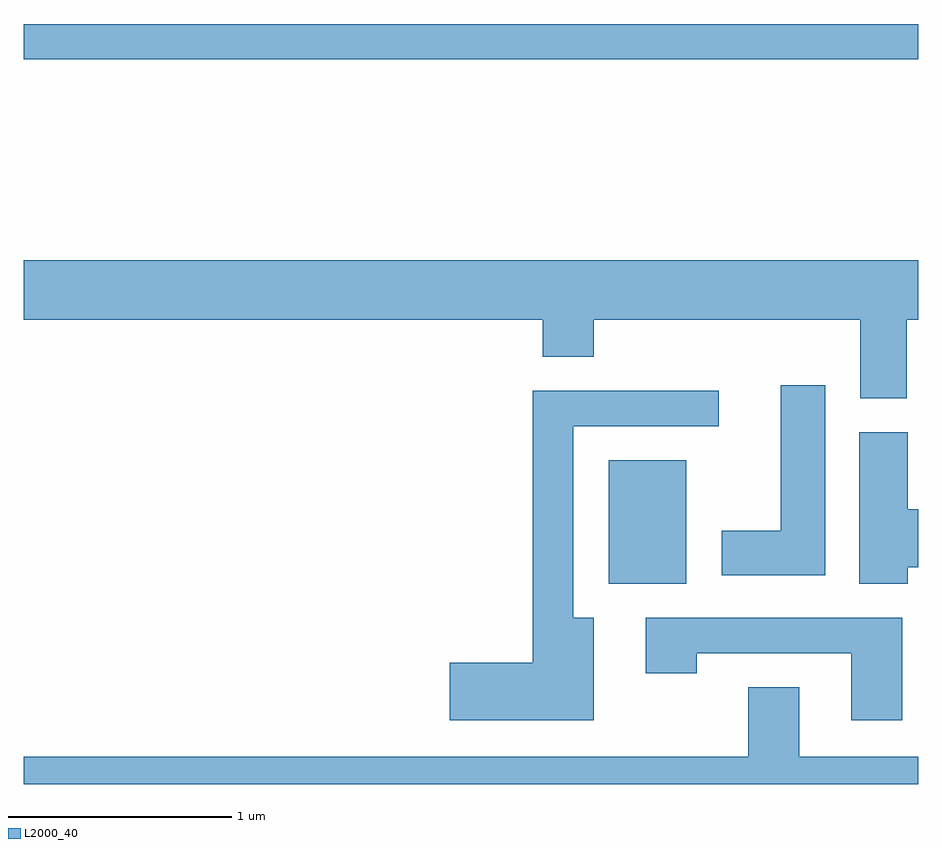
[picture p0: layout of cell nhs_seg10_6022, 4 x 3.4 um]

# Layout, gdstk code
import gdstk
lib = gdstk.Library(unit=1e-6, precision=1e-09)
def R(c, l, rs):  # rectangles x0, y0, x1, y1
    for r in rs: c.add(gdstk.rectangle(r[:2], r[2:], *l))
def P(c, l, *ps):  # polygons
    for p in ps: c.add(gdstk.Polygon(p, *l))
L2000_40 = (2000, 40)

nhs_seg10_6022 = lib.new_cell('nhs_seg10_6022')
R(nhs_seg10_6022, L2000_40, [(366.226,2099.416,366.574,2099.969), (363.611,2101.761,367.611,2101.919)])
P(nhs_seg10_6022, L2000_40, [(367.559,2100.596),(367.611,2100.596),(367.611,2100.864),(363.611,2100.864),(363.611,2100.596),(365.931,2100.596),(365.931,2100.431),(366.159,2100.431),(366.159,2100.596),(367.351,2100.596),(367.351,2100.246),(367.559,2100.246)],
  [(367.194,2100.304),(366.996,2100.304),(366.996,2099.654),(366.731,2099.654),(366.731,2099.456),(367.194,2099.456)],
  [(366.159,2099.264),(366.069,2099.264),(366.069,2100.121),(366.718,2100.121),(366.718,2100.279),(365.886,2100.279),(365.886,2099.064),(365.516,2099.064),(365.516,2098.806),(366.159,2098.806)],
  [(367.564,2099.491),(367.611,2099.491),(367.611,2099.749),(367.564,2099.749),(367.564,2100.094),(367.346,2100.094),(367.346,2099.416),(367.564,2099.416)],
  [(367.539,2099.264),(366.391,2099.264),(366.391,2099.016),(366.619,2099.016),(366.619,2099.106),(367.311,2099.106),(367.311,2098.806),(367.539,2098.806)],
  [(367.611,2098.644),(367.079,2098.644),(367.079,2098.954),(366.851,2098.954),(366.851,2098.644),(363.611,2098.644),(363.611,2098.522),(367.611,2098.522)])

lib.write_gds('nhs_seg10_6022.gds')
